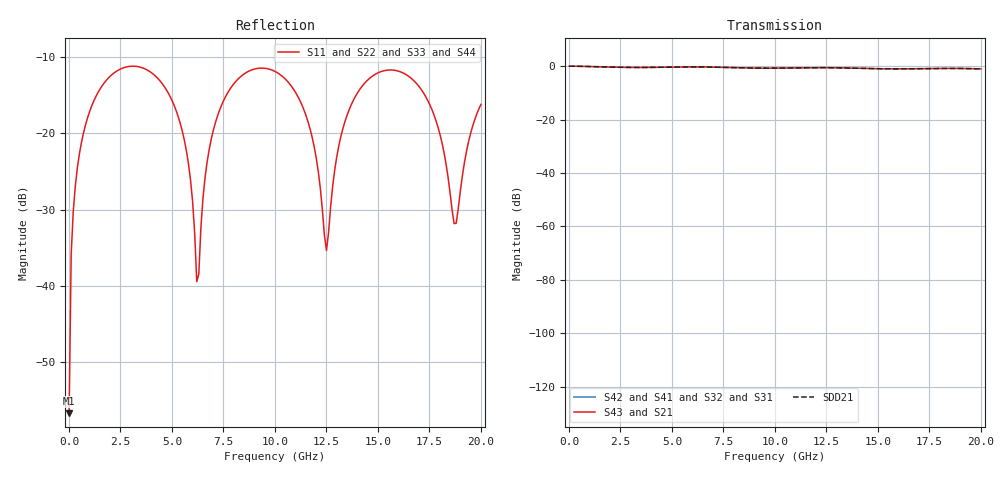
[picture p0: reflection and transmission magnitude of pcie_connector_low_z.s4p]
! Synthetic PCIe Connector S4P - Low Impedance Version
! Port mapping: Port1=D+ TX, Port2=D+ RX, Port3=D- TX, Port4=D- RX
! Zdiff ~ 75 ohm | Delay ~ 80.0 ps | Same loss as original
# GHz S RI R 50
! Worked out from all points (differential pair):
!   201 points, 10 MHz to 20 GHz, reference 50 ohm
!   strongest paths, dB at 10 MHz, 5.008 GHz, 10.01 GHz, 15 GHz, 20 GHz:
!     S43: 0.0, -0.3, -0.7, -1.0, -1.0
!     S21: 0.0, -0.3, -0.7, -1.0, -1.0
!     S42: -, -, -, -, -
!     S41: -, -, -, -, -
!     S32: -, -, -, -, -
!     S31: -, -, -, -, -
!   taken as a pair (ports 3,1 in; 4,2 out), SDD21 dB: 0.0, -0.3, -0.7, -1.0, -1.0
!   lowest |S11| = -56.7 dB at 10 MHz (marker M1), VSWR 1.00, Z = 50 - j0.147 ohm
!   |S11| at or under -10 dB: start of sweep to end of sweep
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0.01  -2.23e-05 -0.00147  0.9999 -0.00524  0 0  0 0
      0.9999 -0.00524  -2.23e-05 -0.00147  0 0  0 0
      0 0  0 0  -2.23e-05 -0.00147  0.9999 -0.00524
      0 0  0 0  0.9999 -0.00524  -2.23e-05 -0.00147
0.4098  -0.0132 -0.0579  0.9733 -0.2118  0 0  0 0
        0.9733 -0.2118  -0.0132 -0.0579  0 0  0 0
        0 0  0 0  -0.0132 -0.0579  0.9733 -0.2118
        0 0  0 0  0.9733 -0.2118  -0.0132 -0.0579
2.2089  -0.2264 -0.1064  0.4118 -0.864  0 0  0 0
        0.4118 -0.864  -0.2264 -0.1064  0 0  0 0
        0 0  0 0  -0.2264 -0.1064  0.4118 -0.864
        0 0  0 0  0.4118 -0.864  -0.2264 -0.1064
6.2069  -0.0089 0.00592  -0.968 -0.0218  0 0  0 0
        -0.968 -0.0218  -0.0089 0.00592  0 0  0 0
        0 0  0 0  -0.0089 0.00592  -0.968 -0.0218
        0 0  0 0  -0.968 -0.0218  -0.0089 0.00592
8.90555  -0.2555 -0.0563  -0.208 0.8978  0 0  0 0
         -0.208 0.8978  -0.2555 -0.0563  0 0  0 0
         0 0  0 0  -0.2555 -0.0563  -0.208 0.8978
         0 0  0 0  -0.208 0.8978  -0.2555 -0.0563
12.4038  -0.0176 0.0124  0.9363 0.047  0 0  0 0
         0.9363 0.047  -0.0176 0.0124  0 0  0 0
         0 0  0 0  -0.0176 0.0124  0.9363 0.047
         0 0  0 0  0.9363 0.047  -0.0176 0.0124
20  -0.109 -0.1101  -0.7123 0.5351  0 0  0 0
    -0.7123 0.5351  -0.109 -0.1101  0 0  0 0
    0 0  0 0  -0.109 -0.1101  -0.7123 0.5351
    0 0  0 0  -0.7123 0.5351  -0.109 -0.1101
